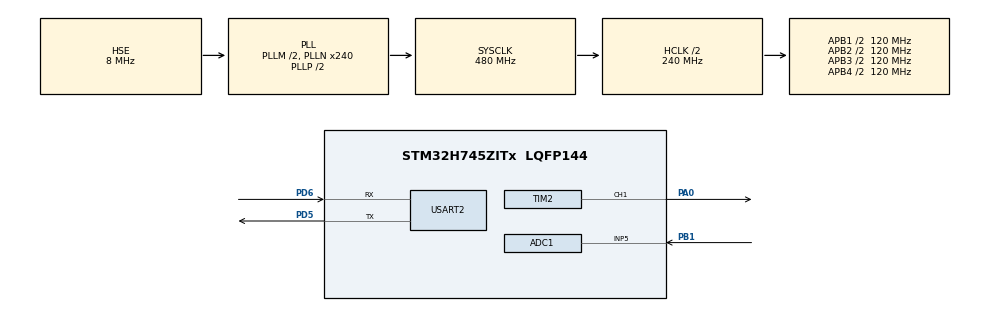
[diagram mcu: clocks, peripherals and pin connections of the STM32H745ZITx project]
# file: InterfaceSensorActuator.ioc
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ADC1.Channel-3\#ChannelRegularConversion=ADC_CHANNEL_5
ADC1.ClockPrescaler=ADC_CLOCK_SYNC_PCLK_DIV4
ADC1.NbrOfConversionFlag=1
ADC1.OffsetNumber-3\#ChannelRegularConversion=ADC_OFFSET_NONE
ADC1.OffsetSignedSaturation-3\#ChannelRegularConversion=DISABLE
ADC1.Rank-3\#ChannelRegularConversion=1
ADC1.SamplingTime-3\#ChannelRegularConversion=ADC_SAMPLETIME_1CYCLE_5
ADC1.master=1
CortexM4.IPs=BDMA,CORTEX_M4\:I,DEBUG,DMA,FATFS_M4\:I,FREERTOS_M4\:I,GPIO,IWDG2\:I,MDMA,NVIC2\:I,OPENAMP_M4\:I,PDM2PCM_M4\:I,PWR,RCC,RESMGR_UTILITY,SYS_M4\:I,USB_DEVICE_M4\:I,USB_HOST_M4\:I,VREFBUF,WWDG2\:I
CortexM7.IPs=BDMA\:I,CORTEX_M7\:I,DEBUG\:I,DMA\:I,FATFS_M7\:I,FREERTOS_M7\:I,GPIO\:I,IWDG1\:I,MDMA\:I,NVIC1\:I,OPENAMP_M7\:I,PDM2PCM_M7\:I,PWR\:I,RCC\:I,RESMGR_UTILITY\:I,SYS\:I,USB_DEVICE_M7\:I,USB_HOST_M7\:I,VREFBUF\:I,WWDG1\:I,USART2\:I,TIM2\:I,ADC1\:I
Mcu.Family=STM32H7
Mcu.Name=STM32H745ZITx
Mcu.Package=LQFP144
NVIC1.PriorityGroup=NVIC_PRIORITYGROUP_4
NVIC2.PriorityGroup=NVIC_PRIORITYGROUP_4
PA0.PinAttribute=CortexM7
PA0.Signal=S_TIM2_CH1_ETR
PB1.PinAttribute=CortexM7
PB1.Signal=ADCx_INP5
PC14-OSC32_IN\ (OSC32_IN).Mode=LSE-External-Oscillator
PC14-OSC32_IN\ (OSC32_IN).PinAttribute=CortexM7
PC14-OSC32_IN\ (OSC32_IN).Signal=RCC_OSC32_IN
PC15-OSC32_OUT\ (OSC32_OUT).Mode=LSE-External-Oscillator
PC15-OSC32_OUT\ (OSC32_OUT).PinAttribute=CortexM7
PC15-OSC32_OUT\ (OSC32_OUT).Signal=RCC_OSC32_OUT
PD5.Mode=Asynchronous
PD5.PinAttribute=CortexM7
PD5.Signal=USART2_TX
PD6.Mode=Asynchronous
PD6.PinAttribute=CortexM7
PD6.Signal=USART2_RX
PH0-OSC_IN\ (PH0).Mode=HSE-External-Clock-Source
PH0-OSC_IN\ (PH0).PinAttribute=CortexM7
PH0-OSC_IN\ (PH0).Signal=RCC_OSC_IN
ProjectManager.HeapSize=M4-0x200,M7-0x200
ProjectManager.StackSize=M4-0x400,M7-0x400
ProjectManager.TargetToolchain=STM32CubeIDE
RCC.ADCFreq_Value=16125000
RCC.APB1Freq_Value=120000000
RCC.APB2Freq_Value=120000000
RCC.APB3Freq_Value=120000000
RCC.APB4Freq_Value=120000000
RCC.CortexFreq_Value=480000000
RCC.D1PPRE=RCC_APB3_DIV2
RCC.D2PPRE1=RCC_APB1_DIV2
RCC.D2PPRE2=RCC_APB2_DIV2
RCC.D3PPRE=RCC_APB4_DIV2
RCC.DIVM1=2
RCC.DIVN1=240
RCC.HCLKFreq_Value=240000000
RCC.HPRE=RCC_HCLK_DIV2
RCC.HSE_VALUE=8000000
RCC.PLL2FRACN=0
RCC.PLL3FRACN=0
RCC.PLLFRACN=0
RCC.PLLSourceVirtual=RCC_PLLSOURCE_HSE
RCC.SYSCLKFreq_VALUE=480000000
RCC.SYSCLKSource=RCC_SYSCLKSOURCE_PLLCLK
RCC.USBFreq_Value=480000000
SH.ADCx_INP5.0=ADC1_INP5,IN5-Single-Ended
SH.S_TIM2_CH1_ETR.0=TIM2_CH1,PWM Generation1 CH1
TIM2.AutoReloadPreload=TIM_AUTORELOAD_PRELOAD_ENABLE
TIM2.Channel-PWM\ Generation1\ CH1=TIM_CHANNEL_1
TIM2.Period=65535
USART2.Parity=PARITY_NONE
USART2.StopBits=STOPBITS_1
USART2.VirtualMode-Asynchronous=VM_ASYNC
VP_TIM2_VS_ClockSourceINT.Mode=Internal
board=custom

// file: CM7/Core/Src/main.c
/* USER CODE BEGIN Header */
/**
  ******************************************************************************
  * @file           : main.c
  * @brief          : Main program body
  ******************************************************************************
  * @attention
  *
  * Copyright (c) 2022 STMicroelectronics.
  * All rights reserved.
  *
  * This software is licensed under terms that can be found in the LICENSE file
  * in the root directory of this software component.
  * If no LICENSE file comes with this software, it is provided AS-IS.
  *
  ******************************************************************************
  */
/* USER CODE END Header */
#include "main.h"

/* USER CODE BEGIN Includes */
#include <stdio.h>
/* USER CODE END Includes */

/* USER CODE BEGIN PD */

#ifndef HSEM_ID_0
#define HSEM_ID_0 (0U) /* HW semaphore 0*/
#endif
/* USER CODE END PD */

ADC_HandleTypeDef hadc1;

TIM_HandleTypeDef htim2;

UART_HandleTypeDef huart2;

void SystemClock_Config(void);
static void MX_GPIO_Init(void);
static void MX_USART2_UART_Init(void);
static void MX_TIM2_Init(void);
static void MX_ADC1_Init(void);
/* USER CODE BEGIN PFP */
int _write( int file, char *ptr, int len ){
	int DataIdx;
	for (DataIdx = 0; DataIdx < len; DataIdx++){
		HAL_UART_Transmit(&huart2, ( uint8_t *)ptr++, 1, HAL_UART_TIMEOUT_VALUE);
	}
	return len;
}
/* USER CODE END PFP */

int main(void)
{
/* USER CODE BEGIN Boot_Mode_Sequence_0 */
  int32_t timeout;
/* USER CODE END Boot_Mode_Sequence_0 */

/* USER CODE BEGIN Boot_Mode_Sequence_1 */
  /* Wait until CPU2 boots and enters in stop mode or timeout*/
  timeout = 0xFFFF;
  while((__HAL_RCC_GET_FLAG(RCC_FLAG_D2CKRDY) != RESET) && (timeout-- > 0));
  if ( timeout < 0 )
  {
  Error_Handler();
  }
/* USER CODE END Boot_Mode_Sequence_1 */
  /* MCU Configuration--------------------------------------------------------*/

  /* Reset of all peripherals, Initializes the Flash interface and the Systick. */
  HAL_Init();

  /* Configure the system clock */
  SystemClock_Config();
/* USER CODE BEGIN Boot_Mode_Sequence_2 */
/* When system initialization is finished, Cortex-M7 will release Cortex-M4 by means of
HSEM notification */
/*HW semaphore Clock enable*/
__HAL_RCC_HSEM_CLK_ENABLE();
/*Take HSEM */
HAL_HSEM_FastTake(HSEM_ID_0);
/*Release HSEM in order to notify the CPU2(CM4)*/
HAL_HSEM_Release(HSEM_ID_0,0);
/* wait until CPU2 wakes up from stop mode */
timeout = 0xFFFF;
while((__HAL_RCC_GET_FLAG(RCC_FLAG_D2CKRDY) == RESET) && (timeout-- > 0));
if ( timeout < 0 )
{
Error_Handler();
}
/* USER CODE END Boot_Mode_Sequence_2 */

  /* Initialize all configured peripherals */
  int32_t CH1_DC = 50000;
  MX_GPIO_Init();
  MX_USART2_UART_Init();
  MX_TIM2_Init();
  MX_ADC1_Init();
  HAL_TIM_PWM_Start(&htim2, TIM_CHANNEL_1);

  /* Infinite loop */
  /* USER CODE BEGIN WHILE */
  while (1)
  {
	  while(CH1_DC < 65535){
      TIM2->CCR1 = CH1_DC;
      CH1_DC += 70;
      HAL_Delay(1);
    }
    while(CH1_DC > 50000){
      TIM2->CCR1 = CH1_DC;
      CH1_DC -= 70;
      HAL_Delay(1);
    }
    /* USER CODE END WHILE */

  }
}

void SystemClock_Config(void)
{
  RCC_OscInitTypeDef RCC_OscInitStruct = {0};
  RCC_ClkInitTypeDef RCC_ClkInitStruct = {0};

  /** Supply configuration update enable
  */
  HAL_PWREx_ConfigSupply(PWR_DIRECT_SMPS_SUPPLY);

  /** Configure the main internal regulator output voltage
  */
  __HAL_PWR_VOLTAGESCALING_CONFIG(PWR_REGULATOR_VOLTAGE_SCALE0);

  while(!__HAL_PWR_GET_FLAG(PWR_FLAG_VOSRDY)) {}

  /** Initializes the RCC Oscillators according to the specified parameters
  * in the RCC_OscInitTypeDef structure.
  */
  RCC_OscInitStruct.OscillatorType = RCC_OSCILLATORTYPE_HSE;
  RCC_OscInitStruct.HSEState = RCC_HSE_BYPASS;
  RCC_OscInitStruct.PLL.PLLState = RCC_PLL_ON;
  RCC_OscInitStruct.PLL.PLLSource = RCC_PLLSOURCE_HSE;
  RCC_OscInitStruct.PLL.PLLM = 2;
  RCC_OscInitStruct.PLL.PLLN = 240;
  RCC_OscInitStruct.PLL.PLLP = 2;
  RCC_OscInitStruct.PLL.PLLQ = 2;
  RCC_OscInitStruct.PLL.PLLR = 2;
  RCC_OscInitStruct.PLL.PLLRGE = RCC_PLL1VCIRANGE_2;
  RCC_OscInitStruct.PLL.PLLVCOSEL = RCC_PLL1VCOWIDE;
  RCC_OscInitStruct.PLL.PLLFRACN = 0;
  if (HAL_RCC_OscConfig(&RCC_OscInitStruct) != HAL_OK)
  {
    Error_Handler();
  }

  /** Initializes the CPU, AHB and APB buses clocks
  */
  RCC_ClkInitStruct.ClockType = RCC_CLOCKTYPE_HCLK|RCC_CLOCKTYPE_SYSCLK
                              |RCC_CLOCKTYPE_PCLK1|RCC_CLOCKTYPE_PCLK2
                              |RCC_CLOCKTYPE_D3PCLK1|RCC_CLOCKTYPE_D1PCLK1;
  RCC_ClkInitStruct.SYSCLKSource = RCC_SYSCLKSOURCE_PLLCLK;
  RCC_ClkInitStruct.SYSCLKDivider = RCC_SYSCLK_DIV1;
  RCC_ClkInitStruct.AHBCLKDivider = RCC_HCLK_DIV2;
  RCC_ClkInitStruct.APB3CLKDivider = RCC_APB3_DIV2;
  RCC_ClkInitStruct.APB1CLKDivider = RCC_APB1_DIV2;
  RCC_ClkInitStruct.APB2CLKDivider = RCC_APB2_DIV2;
  RCC_ClkInitStruct.APB4CLKDivider = RCC_APB4_DIV2;

  if (HAL_RCC_ClockConfig(&RCC_ClkInitStruct, FLASH_LATENCY_4) != HAL_OK)
  {
    Error_Handler();
  }
}

static void MX_ADC1_Init(void)
{

  ADC_MultiModeTypeDef multimode = {0};
  ADC_ChannelConfTypeDef sConfig = {0};

  /** Common config
  */
  hadc1.Instance = ADC1;
  hadc1.Init.ClockPrescaler = ADC_CLOCK_SYNC_PCLK_DIV4;
  hadc1.Init.Resolution = ADC_RESOLUTION_16B;
  hadc1.Init.ScanConvMode = ADC_SCAN_DISABLE;
  hadc1.Init.EOCSelection = ADC_EOC_SINGLE_CONV;
  hadc1.Init.LowPowerAutoWait = DISABLE;
  hadc1.Init.ContinuousConvMode = DISABLE;
  hadc1.Init.NbrOfConversion = 1;
  hadc1.Init.DiscontinuousConvMode = DISABLE;
  hadc1.Init.ExternalTrigConv = ADC_SOFTWARE_START;
  hadc1.Init.ExternalTrigConvEdge = ADC_EXTERNALTRIGCONVEDGE_NONE;
  hadc1.Init.ConversionDataManagement = ADC_CONVERSIONDATA_DR;
  hadc1.Init.Overrun = ADC_OVR_DATA_PRESERVED;
  hadc1.Init.LeftBitShift = ADC_LEFTBITSHIFT_NONE;
  hadc1.Init.OversamplingMode = DISABLE;
  if (HAL_ADC_Init(&hadc1) != HAL_OK)
  {
    Error_Handler();
  }

  /** Configure the ADC multi-mode
  */
  multimode.Mode = ADC_MODE_INDEPENDENT;
  if (HAL_ADCEx_MultiModeConfigChannel(&hadc1, &multimode) != HAL_OK)
  {
    Error_Handler();
  }

  /** Configure Regular Channel
  */
  sConfig.Channel = ADC_CHANNEL_5;
  sConfig.Rank = ADC_REGULAR_RANK_1;
  sConfig.SamplingTime = ADC_SAMPLETIME_1CYCLE_5;
  sConfig.SingleDiff = ADC_SINGLE_ENDED;
  sConfig.OffsetNumber = ADC_OFFSET_NONE;
  sConfig.Offset = 0;
  sConfig.OffsetSignedSaturation = DISABLE;
  if (HAL_ADC_ConfigChannel(&hadc1, &sConfig) != HAL_OK)
  {
    Error_Handler();
  }

}

static void MX_TIM2_Init(void)
{

  TIM_ClockConfigTypeDef sClockSourceConfig = {0};
  TIM_MasterConfigTypeDef sMasterConfig = {0};
  TIM_OC_InitTypeDef sConfigOC = {0};

  htim2.Instance = TIM2;
  htim2.Init.Prescaler = 0;
  htim2.Init.CounterMode = TIM_COUNTERMODE_UP;
  htim2.Init.Period = 65535;
  htim2.Init.ClockDivision = TIM_CLOCKDIVISION_DIV1;
  htim2.Init.AutoReloadPreload = TIM_AUTORELOAD_PRELOAD_ENABLE;
  if (HAL_TIM_Base_Init(&htim2) != HAL_OK)
  {
    Error_Handler();
  }
  sClockSourceConfig.ClockSource = TIM_CLOCKSOURCE_INTERNAL;
  if (HAL_TIM_ConfigClockSource(&htim2, &sClockSourceConfig) != HAL_OK)
  {
    Error_Handler();
  }
  if (HAL_TIM_PWM_Init(&htim2) != HAL_OK)
  {
    Error_Handler();
  }
  sMasterConfig.MasterOutputTrigger = TIM_TRGO_RESET;
  sMasterConfig.MasterSlaveMode = TIM_MASTERSLAVEMODE_DISABLE;
  if (HAL_TIMEx_MasterConfigSynchronization(&htim2, &sMasterConfig) != HAL_OK)
  {
    Error_Handler();
  }
  sConfigOC.OCMode = TIM_OCMODE_PWM1;
  sConfigOC.Pulse = 0;
  sConfigOC.OCPolarity = TIM_OCPOLARITY_HIGH;
  sConfigOC.OCFastMode = TIM_OCFAST_DISABLE;
  if (HAL_TIM_PWM_ConfigChannel(&htim2, &sConfigOC, TIM_CHANNEL_1) != HAL_OK)
  {
    Error_Handler();
  }
  HAL_TIM_MspPostInit(&htim2);

}

static void MX_USART2_UART_Init(void)
{

  huart2.Instance = USART2;
  huart2.Init.BaudRate = 115200;
  huart2.Init.WordLength = UART_WORDLENGTH_8B;
  huart2.Init.StopBits = UART_STOPBITS_1;
  huart2.Init.Parity = UART_PARITY_NONE;
  huart2.Init.Mode = UART_MODE_TX_RX;
  huart2.Init.HwFlowCtl = UART_HWCONTROL_NONE;
  huart2.Init.OverSampling = UART_OVERSAMPLING_16;
  huart2.Init.OneBitSampling = UART_ONE_BIT_SAMPLE_DISABLE;
  huart2.Init.ClockPrescaler = UART_PRESCALER_DIV1;
  huart2.AdvancedInit.AdvFeatureInit = UART_ADVFEATURE_NO_INIT;
  if (HAL_UART_Init(&huart2) != HAL_OK)
  {
    Error_Handler();
  }
  if (HAL_UARTEx_SetTxFifoThreshold(&huart2, UART_TXFIFO_THRESHOLD_1_8) != HAL_OK)
  {
    Error_Handler();
  }
  if (HAL_UARTEx_SetRxFifoThreshold(&huart2, UART_RXFIFO_THRESHOLD_1_8) != HAL_OK)
  {
    Error_Handler();
  }
  if (HAL_UARTEx_DisableFifoMode(&huart2) != HAL_OK)
  {
    Error_Handler();
  }

}

static void MX_GPIO_Init(void)
{

  /* GPIO Ports Clock Enable */
  __HAL_RCC_GPIOC_CLK_ENABLE();
  __HAL_RCC_GPIOH_CLK_ENABLE();
  __HAL_RCC_GPIOA_CLK_ENABLE();
  __HAL_RCC_GPIOB_CLK_ENABLE();
  __HAL_RCC_GPIOD_CLK_ENABLE();

}

void Error_Handler(void)
{
  __disable_irq();
  while (1)
  {
  }
}
